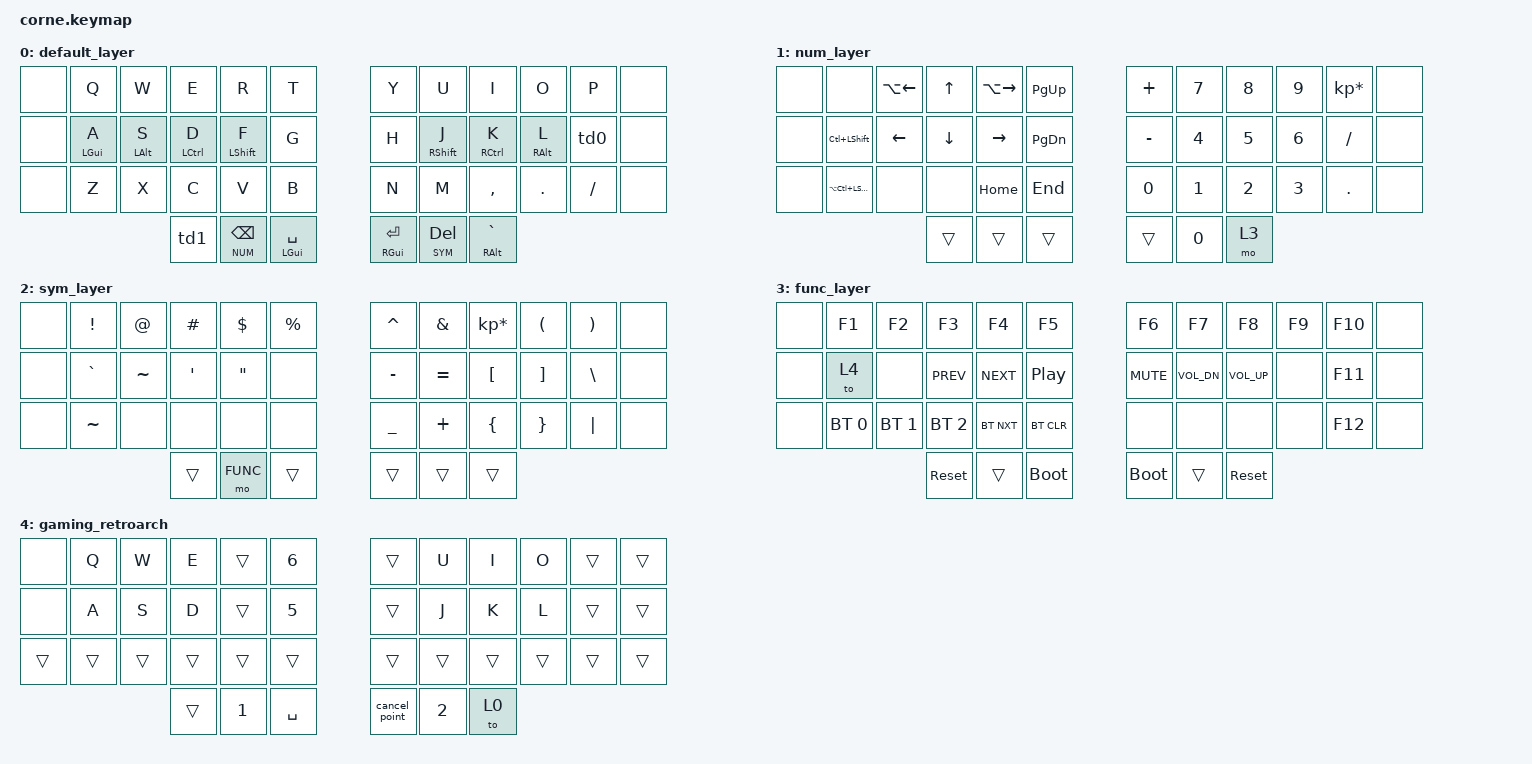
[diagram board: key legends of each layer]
/*
 * Copyright (c) 2020 The ZMK Contributors
 *
 * SPDX-License-Identifier: MIT
 */

#include <behaviors.dtsi>
#include <dt-bindings/zmk/bt.h>
#include <dt-bindings/zmk/keys.h>

// LAYERS

#define DEFAULT 0
#define NUM     1
#define SYM     2
#define FUNC    3

// MACROS

#define SUPER LC(LSHIFT)
#define SUPER2 LA(LC(LSHIFT))

&mt {
    tapping-term-ms = <200>;
    flavor = "tap-preferred";
};

/ {
    behaviors {
        hm: homerow_mods {
            compatible = "zmk,behavior-hold-tap";
            label = "HOMEROW_MODS";
            #binding-cells = <2>;
            tapping-term-ms = <200>;
            quick-tap-ms = <0>;
            flavor = "balanced";
            bindings = <&kp>, <&kp>;
        };

        td0: tap_dance_0 {
            compatible = "zmk,behavior-tap-dance";
            label = "TAP_DANCE_0";
            #binding-cells = <0>;
            tapping-term-ms = <200>;
            bindings = <&hm RGUI SEMI>, <&kp SQT>;
        };

        td1: tap_dance_1 {
            compatible = "zmk,behavior-tap-dance";
            label = "TAP_DANCE_1";
            #binding-cells = <0>;
            tapping-term-ms = <200>;
            bindings = <&mt LCTRL TAB>, <&kp ESC>;
        };
    };

    combos {
        compatible = "zmk,combos";

        combo_cword {
            timeout-ms = <50>;
            key-positions = <16 19>;
            bindings = <&caps_word>;
        };

        combo_vimwq {
            timeout-ms = <50>;
            key-positions = <1 2>;
            bindings = <&vim_quit>;
        };
    };

    macros {
        vim_quit: vim_quit {
            label = "ZM_vim_quit";
            compatible = "zmk,behavior-macro";
            #binding-cells = <0>;
            bindings = <&macro_tap>, <&kp ESC &kp COLON &kp W &kp Q>;
        };

        cancel_point: cancel_point {
            compatible = "zmk,behavior-macro";
            #binding-cells = <0>;
            bindings = <&macro_tap>, <&kp A &kp S &kp J &kp SPACE>;

            label = "CANCEL_POINT";
        };
    };

    keymap {
        compatible = "zmk,keymap";

        default_layer {
            bindings = <
&none  &kp Q       &kp W       &kp E        &kp R         &kp T             &kp Y         &kp U         &kp I           &kp O       &kp P     &none
&none  &hm LGUI A  &hm LALT S  &hm LCTRL D  &hm LSHIFT F  &kp G             &kp H         &hm RSHIFT J  &hm RCTRL K     &hm RALT L  &td0      &none
&none  &kp Z       &kp X       &kp C        &kp V         &kp B             &kp N         &kp M         &kp COMMA       &kp DOT     &kp FSLH  &none
                               &td1         &lt NUM BSPC  &mt LGUI SPACE    &mt RGUI RET  &lt SYM DEL   &mt RALT GRAVE
            >;
        };

        num_layer {
            bindings = <
&none  &none       &kp LA(LEFT)  &kp UP    &kp LA(RIGHT)  &kp PG_UP    &kp PLUS   &kp N7  &kp N8  &kp N9  &kp KP_MULTIPLY  &none
&none  &kp SUPER   &kp LEFT      &kp DOWN  &kp RIGHT      &kp PG_DN    &kp MINUS  &kp N4  &kp N5  &kp N6  &kp SLASH        &none
&none  &kp SUPER2  &none         &none     &kp HOME       &kp END      &kp N0     &kp N1  &kp N2  &kp N3  &kp DOT          &none
                                 &trans    &trans         &trans       &trans     &kp N0  &mo 3
            >;
        };

        sym_layer {
            bindings = <
&none  &kp EXCL   &kp AT     &kp HASH          &kp DLLR           &kp PRCNT    &kp CARET  &kp AMPS   &kp KP_MULTIPLY  &kp LPAR  &kp RPAR  &none
&none  &kp GRAVE  &kp TILDE  &kp SINGLE_QUOTE  &kp DOUBLE_QUOTES  &none        &kp MINUS  &kp EQUAL  &kp LBKT         &kp RBKT  &kp BSLH  &none
&none  &kp TILDE  &none      &none             &none              &none        &kp UNDER  &kp PLUS   &kp LBRC         &kp RBRC  &kp PIPE  &none
                             &trans            &mo FUNC           &trans       &trans     &trans     &trans
            >;
        };

        func_layer {
            bindings = <
&none  &kp F1        &kp F2        &kp F3        &kp F4      &kp F5              &kp F6       &kp F7        &kp F8        &kp F9  &kp F10  &none
&none  &to 4         &none         &kp C_PREV    &kp C_NEXT  &kp C_PLAY_PAUSE    &kp C_MUTE   &kp C_VOL_DN  &kp C_VOL_UP  &none   &kp F11  &none
&none  &bt BT_SEL 0  &bt BT_SEL 1  &bt BT_SEL 2  &bt BT_NXT  &bt BT_CLR          &none        &none         &none         &none   &kp F12  &none
                                   &sys_reset    &trans      &bootloader         &bootloader  &trans        &sys_reset
            >;
        };

        gaming_retroarch {
            bindings = <
&none   &kp Q   &kp W   &kp E   &trans        &kp NUMBER_6    &trans         &kp U         &kp I   &kp O   &trans  &trans
&none   &kp A   &kp S   &kp D   &trans        &kp N5          &trans         &kp J         &kp K   &kp L   &trans  &trans
&trans  &trans  &trans  &trans  &trans        &trans          &trans         &trans        &trans  &trans  &trans  &trans
                        &trans  &kp NUMBER_1  &kp SPACE       &cancel_point  &kp NUMBER_2  &to 0
            >;
        };
    };
};
